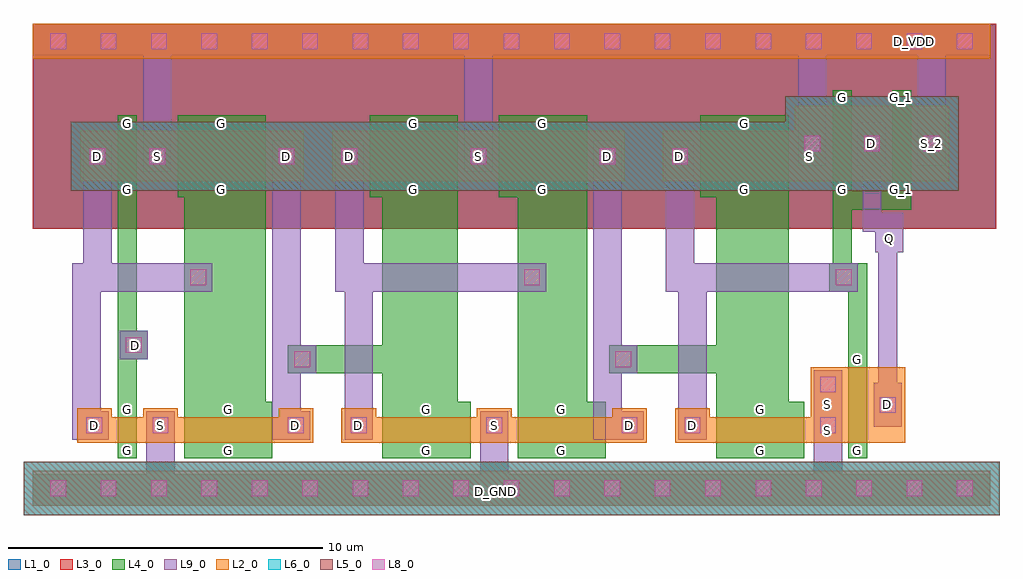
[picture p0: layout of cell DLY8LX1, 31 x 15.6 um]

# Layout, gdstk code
import gdstk
lib = gdstk.Library(unit=1e-6, precision=1e-09)
def R(c, l, rs):  # rectangles x0, y0, x1, y1
    for r in rs: c.add(gdstk.rectangle(r[:2], r[2:], *l))
def A(c, l, x, y, w, h, nx, ny, dx, dy):  # array of equal rectangles
    R(c, l, [(x+i*dx, y+j*dy, x+i*dx+w, y+j*dy+h) for i in range(nx) for j in range(ny)])
def P(c, l, *ps):  # polygons
    for p in ps: c.add(gdstk.Polygon(p, *l))
L1_0 = (1, 0)
L2_0 = (2, 0)
L3_0 = (3, 0)
L4_0 = (4, 0)
L5_0 = (5, 0)
L6_0 = (6, 0)
L8_0 = (8, 0)
L9_0 = (9, 0)

dly8lx1 = lib.new_cell('DLY8LX1')
R(dly8lx1, L1_0, [(0,8.8,6,13.4), (0,8.8,28.8,15.3), (1.9,8.8,10.1,13.4), (8,8.8,16.2,13.4), (12.1,8.8,20.3,13.4), (18.5,8.8,26.7,13.4), (22.7,8.8,30.6,14.2), (28.7,13.4,30.6,15.3)])
A(dly8lx1, L2_0, 24.2, 10.3, 1.1, 2.4, 3, 1, 1.9, 0)
R(dly8lx1, L2_0, [(0,0,30.4,1.1), (1.4,2,2.5,3.1), (2.5,2,3.5,2.8), (3.5,2,4.6,3.1), (3.5,2,4.6,3.1), (4.6,2,7.8,2.8), (7.8,2,8.9,3.1), (9.8,2,10.9,3.1), (10.9,2,14.1,2.8), (14.1,2,15.2,3.1), (14.1,2,15.2,3.1), (15.2,2,18.4,2.8), (18.4,2,19.5,3.1), (20.4,2,21.5,3.1), (21.5,2,24.7,2.8), (24.7,2,25.8,3.1), (24.7,2,25.8,2.8), (24.7,2,25.8,4.4), (25.8,2,26.6,4.4), (26.6,2,27.7,4.4), (24.7,3.3,25.8,4.4), (1.5,10.3,2.6,11.9), (2.6,10.3,3.4,11.9), (3.4,10.3,4.5,11.9), (3.4,10.3,4.5,11.9), (4.5,10.3,7.5,11.9), (7.5,10.3,8.6,11.9), (9.5,10.3,10.6,11.9), (10.6,10.3,13.6,11.9), (13.6,10.3,14.7,11.9), (13.6,10.3,14.7,11.9), (14.7,10.3,17.7,11.9), (17.7,10.3,18.8,11.9), (20,10.3,21.1,11.9), (21.1,10.3,24.1,11.9), (24.1,10.3,25.2,11.9), (25.3,10.3,26.1,12.7), (27.2,10.3,28,12.7), (0,14.2,30.4,15.3)])
R(dly8lx1, L3_0, [(0,8.8,6,13.4), (0,8.8,28.8,15.3), (1.9,8.8,10.1,13.4), (8,8.8,16.2,13.4), (12.1,8.8,20.3,13.4), (18.5,8.8,26.7,13.4), (22.7,8.8,30.6,14.2), (28.6,13.55,30.6,15.3)])
R(dly8lx1, L4_0, [(2.7,1.5,3.3,2), (2.7,1.5,3.3,3.3), (2.7,1.5,3.3,12.1), (4.8,1.5,7.6,2), (4.8,1.5,7.6,3.3), (4.8,1.5,7.4,12.1), (11.1,1.5,13.9,2), (11.1,1.5,13.9,3.3), (11.1,1.5,13.5,12.1), (15.4,1.5,18.2,2), (15.4,1.5,18.2,3.3), (15.4,1.5,17.6,12.1), (21.7,1.5,24.5,2), (21.7,1.5,24.5,3.3), (21.7,1.5,24,12.1), (25.9,1.5,26.5,2), (25.9,1.5,26.5,4.9), (2.7,2.8,3.3,3.3), (4.8,2.8,7.6,3.3), (11.1,2.8,13.9,3.3), (15.4,2.8,18.2,3.3), (21.7,2.8,24.5,3.3), (8.1,4.2,9,5.1), (8.1,4.2,13.5,5.1), (18.3,4.2,19.2,5.1), (18.3,4.2,24,5.1), (25.9,4.35,26.5,7.7), (25.9,4.4,26.5,4.9), (2.75,4.65,3.65,5.55), (4.8,6.8,5.7,7.7), (15.4,6.8,16.3,7.7), (25.3,6.8,26.2,7.7), (25.4,6.8,26,10.1), (25.4,9.4,27.9,10), (2.7,9.8,3.3,12.4), (2.7,9.8,3.3,10.3), (4.6,9.8,7.4,12.4), (4.6,9.8,7.4,10.3), (10.7,9.8,13.5,12.4), (10.7,9.8,13.5,10.3), (14.8,9.8,17.6,12.4), (14.8,9.8,17.6,10.3), (21.2,9.8,24,12.4), (21.2,9.8,24,10.3), (25.4,9.8,26,10.3), (25.4,9.8,26,13.2), (27.3,9.8,27.9,10.3), (27.3,9.8,27.9,13.2), (2.7,11.9,3.3,12.4), (4.6,11.9,7.4,12.4), (10.7,11.9,13.5,12.4), (14.8,11.9,17.6,12.4), (21.2,11.9,24,12.4), (25.4,12.7,26,13.2), (27.3,12.7,27.9,13.2)])
R(dly8lx1, L5_0, [(-0.3,-0.3,30.7,1.4), (1.2,10,4.8,12.2), (3.1,10,8.9,12.2), (8.65,10,9.45,12.2), (9.2,10,15,12.2), (13.3,10,19.1,12.2), (18.9,10,20.05,12.2), (19.7,10,25.5,12.2), (23.9,10,29.4,13)])
R(dly8lx1, L6_0, [(-0.3,-0.3,30.7,1.4), (1.2,10,4.8,12.2), (3.1,10,8.9,12.2), (8.65,10,9.45,12.2), (9.2,10,15,12.2), (13.3,10,19.1,12.2), (18.9,10,20.05,12.2), (19.7,10,25.5,12.2), (23.9,10,29.4,13)])
A(dly8lx1, L8_0, 0.55, 0.3, 0.5, 0.5, 19, 2, 1.6, 14.2)
A(dly8lx1, L8_0, 24.5, 11.25, 0.5, 0.5, 3, 1, 1.9, 0)
R(dly8lx1, L8_0, [(1.7,2.3,2.2,2.8), (3.8,2.3,4.3,2.8), (3.8,2.3,4.3,2.8), (8.1,2.3,8.6,2.8), (10.1,2.3,10.6,2.8), (14.4,2.3,14.9,2.8), (14.4,2.3,14.9,2.8), (18.7,2.3,19.2,2.8), (20.7,2.3,21.2,2.8), (25,2.3,25.5,2.8), (26.9,2.95,27.4,3.45), (25,3.6,25.5,4.1), (8.3,4.4,8.8,4.9), (18.5,4.4,19,4.9), (2.95,4.85,3.45,5.35), (5,7,5.5,7.5), (15.6,7,16.1,7.5), (25.5,7,26,7.5), (1.8,10.85,2.3,11.35), (3.7,10.85,4.2,11.35), (3.7,10.85,4.2,11.35), (7.8,10.85,8.3,11.35), (9.8,10.85,10.3,11.35), (13.9,10.85,14.4,11.35), (13.9,10.85,14.4,11.35), (18,10.85,18.5,11.35), (20.3,10.85,20.8,11.35)])
A(dly8lx1, L9_0, 24.3, 10.8, 0.9, 1.4, 3, 1, 1.9, 0)
R(dly8lx1, L9_0, [(0,0,30.4,1), (14.2,0,15.1,2.9), (14.4,0.15,15,0.75), (24.8,0.45,25.7,2.25), (1.25,2.1,2.15,5.3), (1.5,2.1,2.4,3), (3.6,2.1,4.5,3), (3.6,2.1,4.5,3), (7.9,2.1,8.8,3), (9.9,2.1,10.8,3), (14.2,2.1,15.1,3), (14.2,2.1,15.1,3), (17.8,2.1,18.7,11.35), (18.5,2.1,19.4,3), (20.5,2.1,21.4,3), (20.5,2.1,21.4,7.7), (24.8,2.1,25.7,3), (9.9,2.3,10.8,7.7), (26.7,2.5,27.6,3.9), (24.8,2.85,25.7,3.45), (24.8,3.4,25.7,4.3), (8.1,4.2,9,5.1), (18.3,4.2,19.2,5.1), (1.25,4.65,2.15,7.7), (2.75,4.65,3.65,5.55), (2.95,4.8,3.55,5.4), (1.6,6.8,5.7,7.7), (1.6,6.8,2.5,11.5), (4.8,6.8,5.7,7.7), (9.9,6.8,16.3,7.7), (15.4,6.8,16.3,7.7), (20.5,6.8,26.2,7.7), (25.3,6.8,26.2,7.7), (26.75,8.05,27.5,8.95), (27.45,8.05,27.65,8.95), (27.4,8.65,27.65,9.3), (26.35,8.7,26.95,11.8), (1.6,10.6,2.5,11.6), (3.5,10.6,4.4,11.6), (3.5,10.6,4.4,11.6), (3.5,10.6,4.4,14.5), (7.6,10.6,8.5,11.6), (9.6,10.6,10.5,11.6), (13.7,10.6,14.6,11.6), (13.7,10.6,14.6,11.6), (13.7,10.6,14.6,14.5), (17.8,10.6,18.7,11.6), (20.1,10.6,21,11.6), (24.3,10.8,25.2,14.7), (28.1,11.45,29,14.7), (0,14.3,30.4,15.3), (27.7,14.45,28.3,15.05)])
P(dly8lx1, L9_0, [(3.6,0),(26.6,0),(26.6,0.9),(4.5,0.9),(4.5,3),(3.6,3)],
  [(7.6,2.1),(8.8,2.1),(8.8,3),(8.5,3),(8.5,11.25),(7.6,11.25)],
  [(9.6,6.8),(11.1,6.8),(11.1,7.7),(10.5,7.7),(10.5,11.55),(9.6,11.55)],
  [(20.1,6.8),(22,6.8),(22,7.7),(21,7.7),(21,11.6),(20.1,11.6)],
  [(26.35,8.7),(26.85,8.7),(26.85,2.9),(27.45,2.9),(27.45,9.3),(26.35,9.3)])
dly8lx1.add(gdstk.Label('G', (3,10.052), layer=4, texttype=0))
dly8lx1.add(gdstk.Label('G', (3,12.152), layer=4, texttype=0))
dly8lx1.add(gdstk.Label('S', (3.951,11.101), layer=9, texttype=0))
dly8lx1.add(gdstk.Label('D', (2.051,11.101), layer=9, texttype=0))
dly8lx1.add(gdstk.Label('G', (6,10.052), layer=4, texttype=0))
dly8lx1.add(gdstk.Label('G', (6,12.152), layer=4, texttype=0))
dly8lx1.add(gdstk.Label('S', (3.949,11.101), layer=9, texttype=0))
dly8lx1.add(gdstk.Label('D', (8.049,11.101), layer=9, texttype=0))
dly8lx1.add(gdstk.Label('G', (12.1,10.052), layer=4, texttype=0))
dly8lx1.add(gdstk.Label('G', (12.1,12.152), layer=4, texttype=0))
dly8lx1.add(gdstk.Label('S', (14.151,11.101), layer=9, texttype=0))
dly8lx1.add(gdstk.Label('D', (10.051,11.101), layer=9, texttype=0))
dly8lx1.add(gdstk.Label('G', (16.2,10.052), layer=4, texttype=0))
dly8lx1.add(gdstk.Label('G', (16.2,12.152), layer=4, texttype=0))
dly8lx1.add(gdstk.Label('S', (14.149,11.101), layer=9, texttype=0))
dly8lx1.add(gdstk.Label('D', (18.249,11.101), layer=9, texttype=0))
dly8lx1.add(gdstk.Label('G', (3,1.752), layer=4, texttype=0))
dly8lx1.add(gdstk.Label('G', (3,3.052), layer=4, texttype=0))
dly8lx1.add(gdstk.Label('S', (4.051,2.551), layer=9, texttype=0))
dly8lx1.add(gdstk.Label('D', (1.951,2.551), layer=9, texttype=0))
dly8lx1.add(gdstk.Label('G', (6.2,1.752), layer=4, texttype=0))
dly8lx1.add(gdstk.Label('G', (6.2,3.052), layer=4, texttype=0))
dly8lx1.add(gdstk.Label('S', (4.049,2.551), layer=9, texttype=0))
dly8lx1.add(gdstk.Label('D', (8.349,2.551), layer=9, texttype=0))
dly8lx1.add(gdstk.Label('G', (12.5,1.752), layer=4, texttype=0))
dly8lx1.add(gdstk.Label('G', (12.5,3.052), layer=4, texttype=0))
dly8lx1.add(gdstk.Label('S', (14.651,2.551), layer=9, texttype=0))
dly8lx1.add(gdstk.Label('D', (10.351,2.551), layer=9, texttype=0))
dly8lx1.add(gdstk.Label('G', (16.8,1.752), layer=4, texttype=0))
dly8lx1.add(gdstk.Label('G', (16.8,3.052), layer=4, texttype=0))
dly8lx1.add(gdstk.Label('S', (14.649,2.551), layer=9, texttype=0))
dly8lx1.add(gdstk.Label('D', (18.949,2.551), layer=9, texttype=0))
dly8lx1.add(gdstk.Label('G', (22.6,10.052), layer=4, texttype=0))
dly8lx1.add(gdstk.Label('G', (22.6,12.152), layer=4, texttype=0))
dly8lx1.add(gdstk.Label('S', (24.651,11.101), layer=2, texttype=0))
dly8lx1.add(gdstk.Label('D', (20.551,11.101), layer=9, texttype=0))
dly8lx1.add(gdstk.Label('G', (23.1,1.752), layer=4, texttype=0))
dly8lx1.add(gdstk.Label('G', (23.1,3.052), layer=4, texttype=0))
dly8lx1.add(gdstk.Label('S', (25.251,2.401), layer=2, texttype=0))
dly8lx1.add(gdstk.Label('D', (20.951,2.551), layer=9, texttype=0))
dly8lx1.add(gdstk.Label('G', (26.2,1.752), layer=4, texttype=0))
dly8lx1.add(gdstk.Label('G', (26.2,4.652), layer=4, texttype=0))
dly8lx1.add(gdstk.Label('S', (25.249,3.201), layer=2, texttype=0))
dly8lx1.add(gdstk.Label('D', (27.149,3.201), layer=9, texttype=0))
dly8lx1.add(gdstk.Label('G', (25.7,10.052), layer=4, texttype=0))
dly8lx1.add(gdstk.Label('G', (25.7,12.952), layer=4, texttype=0))
dly8lx1.add(gdstk.Label('G_1', (27.6,10.052), layer=4, texttype=0))
dly8lx1.add(gdstk.Label('G_1', (27.6,12.952), layer=4, texttype=0))
dly8lx1.add(gdstk.Label('S', (24.749,11.501), layer=9, texttype=0))
dly8lx1.add(gdstk.Label('D', (26.649,11.501), layer=9, texttype=0))
dly8lx1.add(gdstk.Label('S_2', (28.549,11.5), layer=9, texttype=0))
dly8lx1.add(gdstk.Label('D', (3.25,5.1), layer=50, texttype=0))
dly8lx1.add(gdstk.Label('D_VDD', (28,14.75), layer=50, texttype=0))
dly8lx1.add(gdstk.Label('D_GND', (14.7,0.45), layer=50, texttype=0))
dly8lx1.add(gdstk.Label('Q', (27.2,8.5), layer=50, texttype=0))

lib.write_gds('DLY8LX1.gds')
